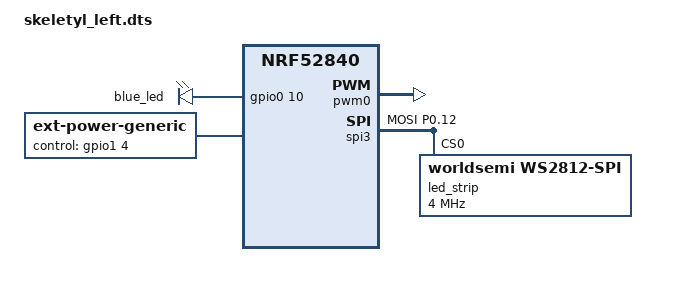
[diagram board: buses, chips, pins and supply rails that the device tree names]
/dts-v1/;
#include <nordic/nrf52840_qiaa.dtsi>
#include <dt-bindings/led/led.h>
#include "skeletyl.dtsi"

&pwm0 {
    status = "okay";
    pinctrl-0 = <&pwm0_default>;
    pinctrl-1 = <&pwm0_sleep>;
    pinctrl-names = "default", "sleep";
};

&pinctrl {
    pwm0_default: pwm0_default {
      group1 {
        psels = <14>; // Replace with the correct numeric pin value for your hardware
      };
    };

    pwm0_sleep: pwm0_sleep {
      group1 {
        psels = <14>; // Replace with the correct numeric pin value for your hardware
        low-power-enable;
      };
    };

    spi3_default: spi3_default {
        group1 {
            psels = <NRF_PSEL(SPIM_MOSI, 0, 12)>;
        };
    };

    spi3_sleep: spi3_sleep {
        group1 {
            psels = <NRF_PSEL(SPIM_MOSI, 0, 12)>;
            low-power-enable;
        };
    };
};

&vbatt {
    io-channels = <&adc 1>;
};

&spi3 {
  compatible = "nordic,nrf-spim";
  status = "okay";
  pinctrl-0 = <&spi3_default>;
  pinctrl-1 = <&spi3_sleep>;
  pinctrl-names = "default", "sleep";

  led_strip: ws2812@0 {
    compatible = "worldsemi,ws2812-spi";

    /* SPI */
    reg = <0>; /* ignored, but necessary for SPI bindings */
    spi-max-frequency = <4000000>;

    /* WS2812 */
    chain-length = <18>; /* number of LEDs */
    spi-one-frame = <0x70>;
    spi-zero-frame = <0x40>;
    color-mapping = <LED_COLOR_ID_GREEN
                          LED_COLOR_ID_RED
                          LED_COLOR_ID_BLUE>;
  };
};

/ {
  leds: leds {
    compatible = "gpio-leds";
    blue_led: led_0 {
      gpios = <&gpio0 10 GPIO_ACTIVE_HIGH>;
    };
  };

  ext-power {
      compatible = "zmk,ext-power-generic";
      control-gpios = <&gpio1 4 GPIO_ACTIVE_HIGH>;
      init-delay-ms = <50>;
  };
};

&kscan0 {
  compatible = "zmk,kscan-gpio-matrix";
  col-gpios
      = <&gpio0 2  (GPIO_ACTIVE_HIGH | GPIO_PULL_DOWN)> // col0
      , <&gpio0 29 (GPIO_ACTIVE_HIGH | GPIO_PULL_DOWN)> // col1
      , <&gpio1 4  (GPIO_ACTIVE_HIGH | GPIO_PULL_DOWN)> // col2
      , <&gpio1 6  (GPIO_ACTIVE_HIGH | GPIO_PULL_DOWN)> // col3
      , <&gpio0 9  (GPIO_ACTIVE_HIGH | GPIO_PULL_DOWN)> // col4
      ;
  row-gpios
      = <&gpio1 15  (GPIO_ACTIVE_HIGH )> // row0
      , <&gpio1 10 (GPIO_ACTIVE_HIGH )> // row1
      , <&gpio1 13  (GPIO_ACTIVE_HIGH )> // row2
      , <&gpio0 10  (GPIO_ACTIVE_HIGH )> // row3
      ;
};
